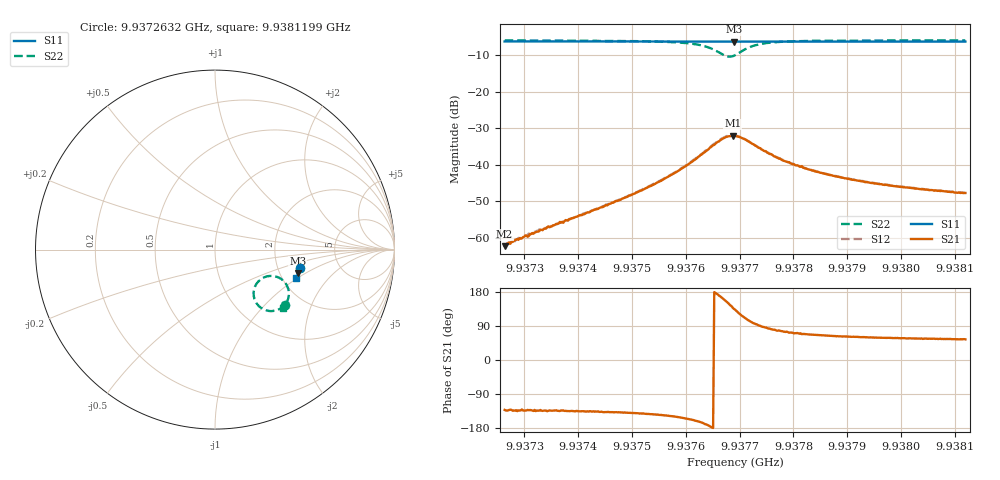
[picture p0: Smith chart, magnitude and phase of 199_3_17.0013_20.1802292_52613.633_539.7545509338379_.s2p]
#  HZ  S  RI  R  50.00
! Rohde & Schwarz Vector Network Analyzer
! Rohde-Schwarz,ZNB20-2Port,1311601062101988,3.16
! Created: UTC 3/20/2024, 11:00:59 PM
! freq[Hz]  re:S11  im:S11  re:S21  im:S21  re:S12  im:S12  re:S22  im:S22
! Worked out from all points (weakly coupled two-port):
!   401 points, 9.9372632 GHz to 9.9381199 GHz, reference 50 ohm
!   highest |S21| = -32.08 dB at 9.9376873 GHz (marker M1); lowest = -62.3 dB at 9.9372632 GHz (marker M2)
!   lowest |S11| = -6.4 dB at 9.9376894 GHz (marker M3), VSWR 2.84, Z = 125 - j42.4 ohm
!   |S11| at or under -10 dB: nowhere
!   |S22| runs from -10.5 to -6.0 dB; largest |S21 - S12| = 0.0012
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9.93726319e9  0.4724 -0.1041  -0.000513 -0.000577  -0.000558 -0.000586  0.3911 -0.3081
9.93734029e9  0.4707 -0.1094  -0.000925 -0.00097  -0.000969 -0.000967  0.3841 -0.3147
9.93740669e9  0.4694 -0.1138  -0.00145 -0.00144  -0.00149 -0.00142  0.3761 -0.3208
9.93749451e9  0.4673 -0.1199  -0.00286 -0.00248  -0.00294 -0.00241  0.3599 -0.3313
9.93755019e9  0.4661 -0.1235  -0.00478 -0.00337  -0.00492 -0.00336  0.3404 -0.3391
9.9376016e9  0.4645 -0.1272  -0.00882 -0.00421  -0.00908 -0.00413  0.3041 -0.3424
9.93763587e9  0.463 -0.1295  -0.0147 -0.00281  -0.0152 -0.00266  0.257 -0.3251
9.937653e9  0.462 -0.1302  -0.0187 0.000298  -0.0193 0.000977  0.2276 -0.2926
9.93767014e9  0.4612 -0.1305  -0.0217 0.00749  -0.0218 0.00838  0.2159 -0.2314
9.93767871e9  0.4609 -0.1306  -0.0212 0.012  -0.0211 0.0132  0.2281 -0.1954
9.93768727e9  0.4608 -0.1306  -0.0185 0.0166  -0.0182 0.0174  0.2547 -0.1655
9.93768942e9  0.4608 -0.1306  -0.0175 0.0174  -0.0174 0.0182  0.2633 -0.1601
9.93769156e9  0.461 -0.1305  -0.0168 0.018  -0.0163 0.0189  0.272 -0.1555
9.93770227e9  0.4613 -0.1309  -0.0115 0.0206  -0.0109 0.0211  0.3165 -0.1465
9.93771512e9  0.4617 -0.1317  -0.00577 0.0203  -0.00517 0.0206  0.3599 -0.1584
9.93774082e9  0.4618 -0.1336  0.000426 0.0161  0.000855 0.0163  0.4009 -0.2003
9.93778366e9  0.4614 -0.137  0.00298 0.0108  0.00319 0.0109  0.4116 -0.2483
9.93783506e9  0.4601 -0.1407  0.00325 0.00767  0.00347 0.00768  0.4067 -0.2763
9.93791003e9  0.4584 -0.1457  0.00299 0.00545  0.00311 0.00547  0.3979 -0.2969
9.93797856e9  0.4566 -0.1504  0.00273 0.00445  0.00285 0.00444  0.3908 -0.3081
9.93805996e9  0.4546 -0.1556  0.00248 0.00371  0.00259 0.00368  0.3841 -0.3172
9.93811993e9  0.4529 -0.1595  0.00239 0.00335  0.00245 0.00336  0.3793 -0.3227
